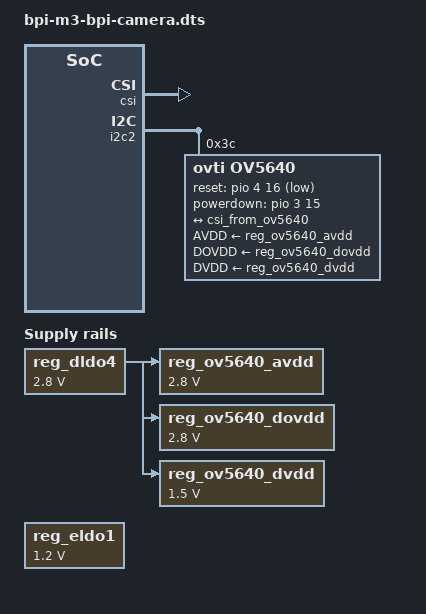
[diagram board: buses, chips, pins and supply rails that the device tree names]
// SPDX-License-Identifier: (GPL-2.0+ OR MIT)
//
// Copyright (C) 2019 Chen-Yu Tsai <wens@csie.org>
//
// Bananapi camera module v3 for BPI-M3 with OV5640 and OV8865
//
// On the BPI-M3, AFVCC-CSI and IOVDD-CSI are directly tied to AVDD-CSI (DLDO4).
// These, and DVDD-CSI (ELDO1) directly feed the OV8655. (R17 is present, while R23 is not.)
//
// The four onboard regulators feed the OV5640. (R17, R18, R19, R20 are not present.)
// These are enabled when AVDD-CSI is on. They are fed by PS.
//
// CSI-MCLK and CSI-RST are shared by both camera sensors.
//
// TODO: OV8865 @ 0x36, VM149C @ 0x0c, ???? @ 0x20
//
// Note: OV8865 shutdown is active-low, unlike OV5640 where it is active-high

#ifdef __DTO_TEST__
#include <arm/sun8i-a83t-bananapi-m3.dts>
#else
/dts-v1/;
/plugin/;
#endif

#include <dt-bindings/clock/sun8i-a83t-ccu.h>
#include <dt-bindings/gpio/gpio.h>

&{/} {
	reg_ov5640_avdd: ov5640-avdd {
		compatible = "regulator-fixed";
		regulator-name = "ov5640-avdd";
		regulator-min-microvolt = <2800000>;
		regulator-max-microvolt = <2800000>;
		/* dldo4 enables this regulator; real supply is PS */
		vin-supply = <&reg_dldo4>;
	};

	reg_ov5640_dovdd: ov5640-iovdd {
		compatible = "regulator-fixed";
		regulator-name = "ov5640-dovdd";
		regulator-min-microvolt = <2800000>;
		regulator-max-microvolt = <2800000>;
		/* dldo4 enables this regulator; real supply is PS */
		vin-supply = <&reg_dldo4>;
	};

	reg_ov5640_dvdd: ov5640-dvdd {
		compatible = "regulator-fixed";
		regulator-name = "ov5640-dvdd";
		regulator-min-microvolt = <1500000>;
		regulator-max-microvolt = <1500000>;
		/* dldo4 enables this regulator; real supply is PS */
		vin-supply = <&reg_dldo4>;
	};
};

&ccu {
	assigned-clocks = <&ccu CLK_CSI_MCLK>;
	assigned-clock-parents = <&osc24M>;
	assigned-clock-rates = <24000000>;
};

&csi {
	pinctrl-names = "default";
	pinctrl-0 = <&csi_8bit_parallel_pins>;
	status = "okay";
};

&csi_in {
	/* Parallel bus endpoint */
	csi_from_ov5640: endpoint {
		remote-endpoint = <&ov5640_to_csi>;
		bus-width = <8>;
		data-shift = <2>;
		hsync-active = <1>; /* Active high */
		vsync-active = <1>; /* Active high */
		pclk-sample = <1>;  /* Falling */
		rotation = <180>;
	};
};

&i2c2 {
	pinctrl-names = "default";
	pinctrl-0 = <&i2c2_pe_pins>;
	status = "okay";

	ov5640: camera@3c {
		compatible = "ovti,ov5640";
		reg = <0x3c>;
		clocks = <&ccu CLK_CSI_MCLK>;
		clock-names = "xclk";

		/* reset shared with OV8655 */
		reset-gpios = <&pio 4 16 GPIO_ACTIVE_LOW>; /* PE16 */
		powerdown-gpios = <&pio 3 15 GPIO_ACTIVE_HIGH>; /* PD15 */
		AVDD-supply = <&reg_ov5640_avdd>;
		DOVDD-supply = <&reg_ov5640_dovdd>;
		DVDD-supply = <&reg_ov5640_dvdd>;

		port {
			ov5640_to_csi: endpoint {
				remote-endpoint = <&csi_from_ov5640>;
				bus-width = <8>;
				data-shift = <2>;
				hsync-active = <1>; /* Active high */
				vsync-active = <1>; /* Active low */
				pclk-sample = <1>;  /* Rising */
			};
		};
	};
};

&pio {
	pinctrl-names = "default";
	pinctrl-0 = <&csi_mclk_pin>;
#if 0
	/* This is not the real thing, but dldo4 provides pull-ups for I2C */
	vcc-pe-supply = <&reg_dldo4>;
#endif
};

&reg_dldo4 {
	regulator-min-microvolt = <2800000>;
	regulator-max-microvolt = <2800000>;
	regulator-name = "avdd-csi";
	/* This also powers the pull-ups on the CSI connector */
	regulator-always-on;
};

&reg_eldo1 {
	regulator-min-microvolt = <1200000>;
	regulator-max-microvolt = <1200000>;
	regulator-name = "dvdd-csi-r";
};
